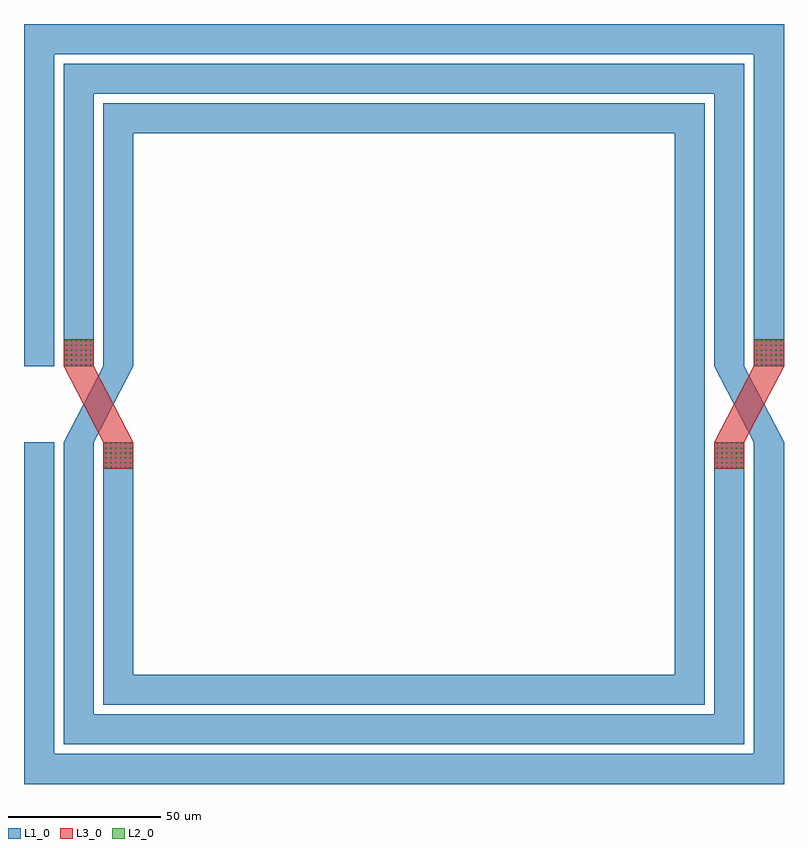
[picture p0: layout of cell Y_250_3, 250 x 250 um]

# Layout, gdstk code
import gdstk
lib = gdstk.Library(unit=1e-6, precision=1e-09)
def R(c, l, rs):  # rectangles x0, y0, x1, y1
    for r in rs: c.add(gdstk.rectangle(r[:2], r[2:], *l))
def A(c, l, x, y, w, h, nx, ny, dx, dy):  # array of equal rectangles
    R(c, l, [(x+i*dx, y+j*dy, x+i*dx+w, y+j*dy+h) for i in range(nx) for j in range(ny)])
def P(c, l, *ps):  # polygons
    for p in ps: c.add(gdstk.Polygon(p, *l))
L1_0 = (1, 0)
L2_0 = (2, 0)
L3_0 = (3, 0)

y_250_3 = lib.new_cell('Y_250_3')
R(y_250_3, L1_0, [(126.005,216.19,135.995,224.99), (327,216.19,337,224.99), (314,225,324,237.5), (314,237.5,324,250), (113,250,123,258.8), (340,250,350,258.8)])
P(y_250_3, L1_0, [(100,250),(100,362.5),(110,352.5),(110,250)],
  [(110,352.5),(100,362.5),(350,362.5),(340,352.5)],
  [(340,250),(340,352.5),(350,362.5),(350,250)],
  [(337,125.5),(327,135.5),(327,225),(337,225)],
  [(113,125.5),(123,135.5),(327,135.5),(337,125.5)],
  [(113,125.5),(113,225),(123,225),(123,135.5)],
  [(113,225),(126,250),(136,250),(123,225)],
  [(126,250),(126,336.5),(136,326.5),(136,250)],
  [(136,326.5),(126,336.5),(324,336.5),(314,326.5)],
  [(314,250),(314,326.5),(324,336.5),(324,250)],
  [(324,138.5),(314,148.5),(314,225),(324,225)],
  [(126,138.5),(136,148.5),(314,148.5),(324,138.5)],
  [(126,138.5),(126,225),(136,225),(136,148.5)],
  [(113,250),(113,349.5),(123,339.5),(123,250)],
  [(123,339.5),(113,349.5),(337,349.5),(327,339.5)],
  [(327,250),(327,339.5),(337,349.5),(337,250)],
  [(340,225),(327,250),(337,250),(350,225)],
  [(350,112.5),(340,122.5),(340,225),(350,225)],
  [(100,112.5),(110,122.5),(340,122.5),(350,112.5)],
  [(100,112.5),(100,225),(110,225),(110,122.5)])
A(y_250_3, L2_0, 126.8, 216.39, 0.4, 0.4, 6, 6, 1.6, 1.6)
A(y_250_3, L2_0, 327.8, 216.39, 0.4, 0.4, 6, 6, 1.6, 1.6)
A(y_250_3, L2_0, 113.8, 250.2, 0.4, 0.4, 6, 6, 1.6, 1.6)
A(y_250_3, L2_0, 340.8, 250.2, 0.4, 0.4, 6, 6, 1.6, 1.6)
R(y_250_3, L3_0, [(126.005,216.19,135.995,224.99), (327,216.19,337,224.99), (113,250,123,258.8), (340,250,350,258.8)])
P(y_250_3, L3_0, [(327,225),(340,250),(350,250),(337,225)],
  [(126,225),(113,250),(123,250),(136,225)])

lib.write_gds('Y_250_3.gds')
